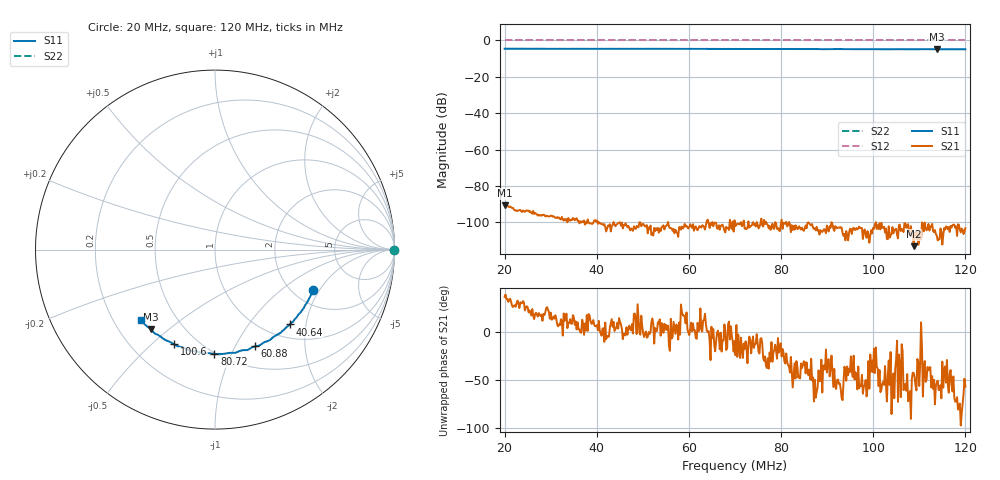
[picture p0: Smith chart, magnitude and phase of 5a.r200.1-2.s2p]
! Anritsu VNA Master:  Model: MS2036C/10/77
! SN:  1601066
! /card0/usr/18may27.balun/5a..r200.s2p
! Existing Calibration Information:
! TYPE:  Current Settings,  Active Cal Settings
! TIME:  05/27/2018 04:59:43 PM,  05/27/2018 04:42:15 PM
! INTERNAL TEMP:  53.5 C,  52.0 C
! # POINTS:  500,  500
! START FREQ:  20.000 MHz,  20.000 MHz
! STOP FREQ:  120.000 MHz,  120.000 MHz
! SOURCE POWER:  High,  High
! IFBW:  50 Hz,  50 Hz
! AVG FACTOR:  1 ,  1
! REF PLANE 1:  0 mm,  0 mm
! REF PLANE 2:  0 mm,  0 mm
! CAL TYPE:  Full S11,  Full S11
! CAL METHOD:  SOLT,  SOLT
! CAL LINE TYPE:  Coax,  Coax
! DUT PORT 1:  K-Conn(M),  K-Conn(M)
! DUT PORT 2:  K-Conn(M),  K-Conn(M)
! CAL STATUS:  OK: Accuracy High,  --
# GHZ S DB R 50.0
! FREQ.GHZ  S11DB  S11A  S21DB  S21A  S12DB  S12A  S22DB  S22A
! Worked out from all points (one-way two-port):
!   500 points, 20 MHz to 120 MHz, reference 50 ohm
!   highest |S21| = -90.69 dB at 20 MHz (marker M1); lowest = -113.1 dB at 108.8 MHz (marker M2)
!   lowest |S11| = -4.9 dB at 113.8 MHz (marker M3), VSWR 3.65, Z = 16.6 - j21.7 ohm
!   |S11| at or under -10 dB: nowhere
!   |S22| runs from 0.0 to 0.0 dB; largest |S21 - S12| = 1
!   S11 on the Smith chart (normalised r, x): 20 MHz: 2.56, -1.76; 40.64 MHz: 1.27, -1.63; 60.88 MHz: 0.74, -1.21; 80.72 MHz: 0.49, -0.86; 100.6 MHz: 0.37, -0.59; 120 MHz: 0.31, -0.37
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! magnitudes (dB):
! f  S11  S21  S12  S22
! 20 MHz  -4.6  -90.7  0.0  0.0
! 36.83 MHz  -4.6  -99.4  0.0  0.0
! 40.64 MHz  -4.6  -100.5  0.0  0.0
! 50.26 MHz  -4.6  -101.4  0.0  0.0
! 53.47 MHz  -4.6  -105.6  0.0  0.0
! 55.87 MHz  -4.7  -103.2  0.0  0.0
! 58.88 MHz  -4.6  -102.8  0.0  0.0
! 60.88 MHz  -4.7  -101.0  0.0  0.0
! 64.89 MHz  -4.6  -101.4  0.0  0.0
! 67.49 MHz  -4.7  -102.6  0.0  0.0
! 70.1 MHz  -4.7  -102.1  0.0  0.0
! 80.72 MHz  -4.7  -100.6  0.0  0.0
! 86.73 MHz  -4.7  -100.9  0.0  0.0
! 88.94 MHz  -4.8  -105.3  0.0  0.0
! 92.34 MHz  -4.7  -102.9  0.0  0.0
! 94.95 MHz  -4.8  -103.5  0.0  0.0
! 100.6 MHz  -4.8  -99.9  0.0  0.0
! 103.4 MHz  -4.8  -102.2  0.0  0.0
! 108.8 MHz  -4.9  -113.1  0.0  0.0
! 111.4 MHz  -4.8  -103.3  0.0  0.0
! 113.8 MHz  -4.9  -107.2  0.0  0.0
! 120 MHz  -4.9  -103.2  0.0  0.0
